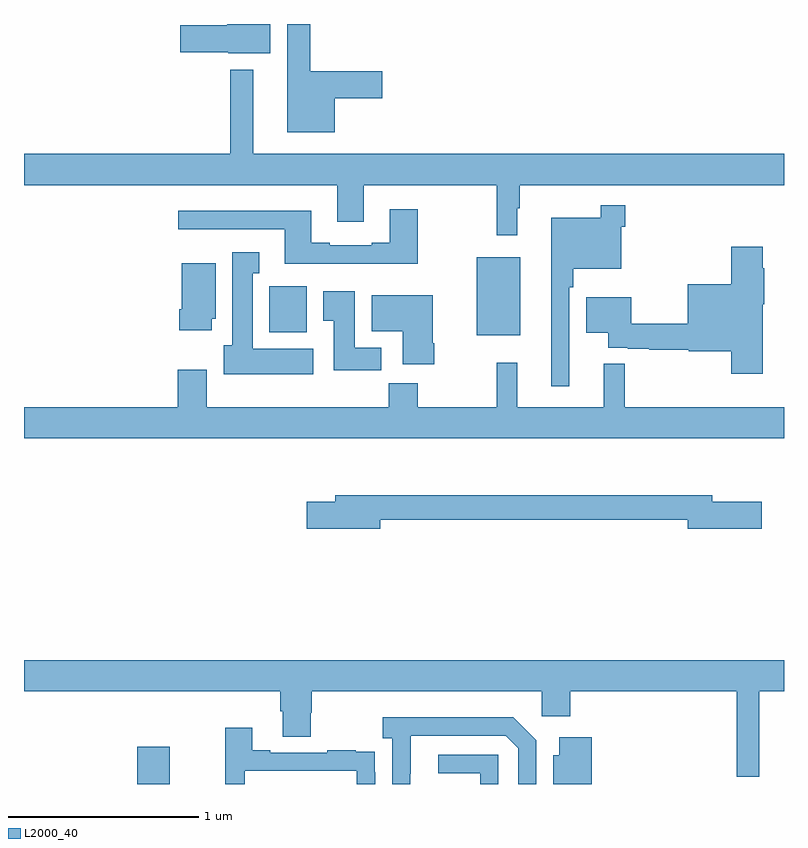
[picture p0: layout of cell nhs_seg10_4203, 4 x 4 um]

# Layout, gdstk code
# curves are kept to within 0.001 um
import gdstk
lib = gdstk.Library(unit=1e-6, precision=1e-09)
def R(c, l, rs):  # rectangles x0, y0, x1, y1
    for r in rs: c.add(gdstk.rectangle(r[:2], r[2:], *l))
def P(c, l, *ps):  # polygons
    for p in ps: c.add(gdstk.Polygon(p, *l))
L2000_40 = (2000, 40)

nhs_seg10_4203 = lib.new_cell('nhs_seg10_4203')
R(nhs_seg10_4203, L2000_40, [(345.596,1294.5,345.766,1294.696), (347.384,1296.863,347.611,1297.273), (346.292,1296.878,346.489,1297.12)])
P(nhs_seg10_4203, L2000_40, [(346.636,1298.11),(346.885,1298.11),(346.885,1298.252),(346.507,1298.252),(346.507,1298.5),(346.385,1298.5),(346.385,1297.931),(346.636,1297.931)],
  [(346.297,1298.5),(346.07,1298.5),(346.07,1298.493),(345.822,1298.493),(345.822,1298.351),(346.074,1298.351),(346.074,1298.345),(346.297,1298.345)],
  [(347.596,1297.529),(347.608,1297.529),(347.608,1297.652),(349,1297.652),(349,1297.816),(346.207,1297.816),(346.207,1298.26),(346.086,1298.26),(346.086,1297.816),(345,1297.816),(345,1297.652),(346.649,1297.652),(346.649,1297.458),(346.789,1297.458),(346.789,1297.652),(347.487,1297.652),(347.487,1297.389),(347.596,1297.389)],
  [(347.871,1297.115),(347.891,1297.115),(347.891,1297.211),(348.144,1297.211),(348.144,1297.433),(348.164,1297.433),(348.164,1297.546),(348.036,1297.546),(348.036,1297.48),(347.774,1297.48),(347.774,1296.594),(347.871,1296.594)],
  [(347.073,1297.525),(346.925,1297.525),(346.925,1297.348),(346.829,1297.348),(346.829,1297.335),(346.609,1297.335),(346.609,1297.348),(346.513,1297.348),(346.513,1297.516),(345.813,1297.516),(345.813,1297.419),(346.373,1297.419),(346.373,1297.238),(347.073,1297.238)],
  [(348.889,1297.025),(348.897,1297.025),(348.897,1297.214),(348.889,1297.214),(348.889,1297.327),(348.722,1297.327),(348.722,1297.129),(348.494,1297.129),(348.494,1296.922),(348.196,1296.922),(348.196,1297.063),(347.96,1297.063),(347.96,1296.875),(348.074,1296.875),(348.074,1296.797),(348.178,1296.797),(348.178,1296.792),(348.292,1296.792),(348.292,1296.786),(348.498,1296.786),(348.498,1296.778),(348.722,1296.778),(348.722,1296.66),(348.889,1296.66)],
  [(346.522,1296.79),(346.204,1296.79),(346.204,1297.187),(346.237,1297.187),(346.237,1297.3),(346.097,1297.3),(346.097,1296.81),(346.052,1296.81),(346.052,1296.656),(346.522,1296.656)],
  [(345.988,1296.948),(346.009,1296.948),(346.009,1297.24),(345.83,1297.24),(345.83,1297),(345.818,1297),(345.818,1296.888),(345.988,1296.888)],
  [(346.88,1296.796),(346.741,1296.796),(346.741,1297.093),(346.574,1297.093),(346.574,1296.937),(346.631,1296.937),(346.631,1296.678),(346.88,1296.678)],
  [(347.16,1296.82),(347.152,1296.82),(347.152,1297.072),(346.829,1297.072),(346.829,1296.884),(346.994,1296.884),(346.994,1296.708),(347.16,1296.708)],
  [(349,1296.484),(348.163,1296.484),(348.163,1296.712),(348.05,1296.712),(348.05,1296.484),(347.597,1296.484),(347.597,1296.718),(347.487,1296.718),(347.487,1296.484),(347.073,1296.484),(347.073,1296.608),(346.921,1296.608),(346.921,1296.484),(345.961,1296.484),(345.961,1296.679),(345.809,1296.679),(345.809,1296.484),(345,1296.484),(345,1296.32),(349,1296.32)],
  [(346.876,1295.89),(348.494,1295.89),(348.494,1295.843),(348.883,1295.843),(348.883,1295.985),(348.622,1295.985),(348.622,1296.019),(346.637,1296.019),(346.637,1295.985),(346.488,1295.985),(346.488,1295.843),(346.876,1295.843)],
  [(348.871,1294.988),(349,1294.988),(349,1295.152),(345,1295.152),(345,1294.988),(346.349,1294.988),(346.349,1294.882),(346.361,1294.882),(346.361,1294.75),(346.509,1294.75),(346.509,1294.875),(346.514,1294.875),(346.514,1294.988),(347.724,1294.988),(347.724,1294.857),(347.876,1294.857),(347.876,1294.988),(348.75,1294.988),(348.75,1294.539),(348.871,1294.539)],
  [(347.034,1294.555),(347.035,1294.755),(347.535,1294.755),(347.601,1294.689),(347.601,1294.5),(347.697,1294.5),(347.697,1294.731),(347.576,1294.852),(346.887,1294.852),(346.887,1294.742),(346.938,1294.742),(346.938,1294.5),(347.034,1294.5)],
  [(346.161,1294.569),(346.752,1294.569),(346.752,1294.5),(346.848,1294.5),(346.848,1294.562),(346.847,1294.562),(346.847,1294.671),(346.745,1294.671),(346.745,1294.678),(346.597,1294.678),(346.597,1294.665),(346.297,1294.665),(346.297,1294.678),(346.201,1294.678),(346.201,1294.795),(346.06,1294.795),(346.06,1294.5),(346.161,1294.5)],
  [(347.987,1294.747),(347.816,1294.747),(347.816,1294.651),(347.786,1294.651),(347.786,1294.5),(347.987,1294.5)],
  [(347.496,1294.653),(347.181,1294.653),(347.181,1294.557),(347.4,1294.557),(347.4,1294.5),(347.496,1294.5)])

lib.write_gds('nhs_seg10_4203.gds')
